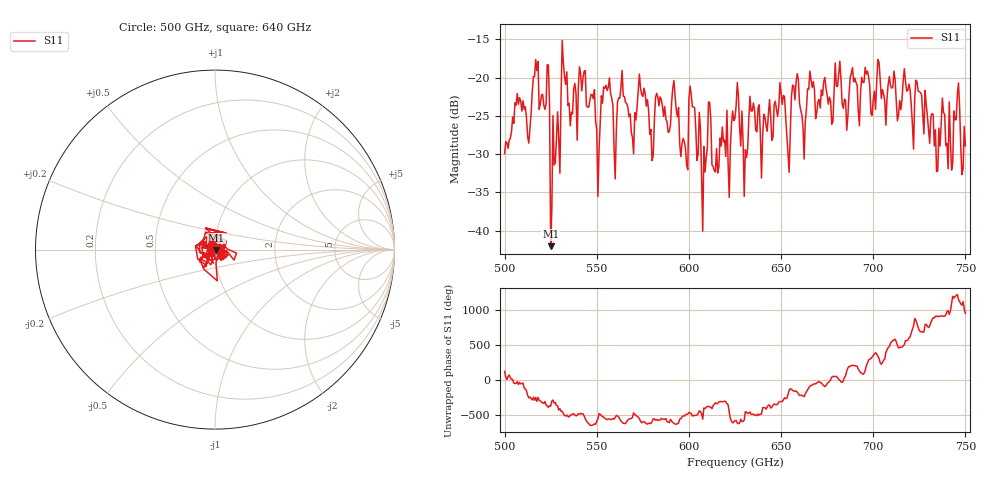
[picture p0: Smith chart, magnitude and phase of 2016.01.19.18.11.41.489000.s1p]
!Created with skrf (http://scikit-rf.org).
# GHz S RI R 50.0
!freq ReS11 ImS11
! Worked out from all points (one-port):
!   401 points, 500 GHz to 750 GHz, reference 50 ohm
!   lowest |S11| = -42.0 dB at 525 GHz (marker M1), VSWR 1.02, Z = 50.8 - j0.16 ohm
!   |S11| at or under -10 dB: start of sweep to end of sweep
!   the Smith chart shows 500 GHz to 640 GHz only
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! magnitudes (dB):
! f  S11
! 500 GHz  -29.9
! 506.9 GHz  -22.1
! 513.1 GHz  -28.6
! 516.9 GHz  -17.6
! 523.1 GHz  -18.3
! 525 GHz  -42.0
! 526.2 GHz  -25.0
! 531.2 GHz  -15.2
! 542.5 GHz  -20.1
! 550.6 GHz  -35.5
! 553.8 GHz  -21.2
! 560 GHz  -33.2
! 562.5 GHz  -22.7
! 593.8 GHz  -25.1
! 598.1 GHz  -29.2
! 601.9 GHz  -23.8
! 608.1 GHz  -29.0
! 610.6 GHz  -23.2
! 615 GHz  -29.3
! 625 GHz  -25.3
! 630.6 GHz  -29.4
! 634.4 GHz  -24.4
! 650.6 GHz  -23.5
! 653.8 GHz  -29.8
! 656.2 GHz  -21.0
! 687.5 GHz  -19.9
! 718.8 GHz  -21.7
! 750 GHz  -28.9
